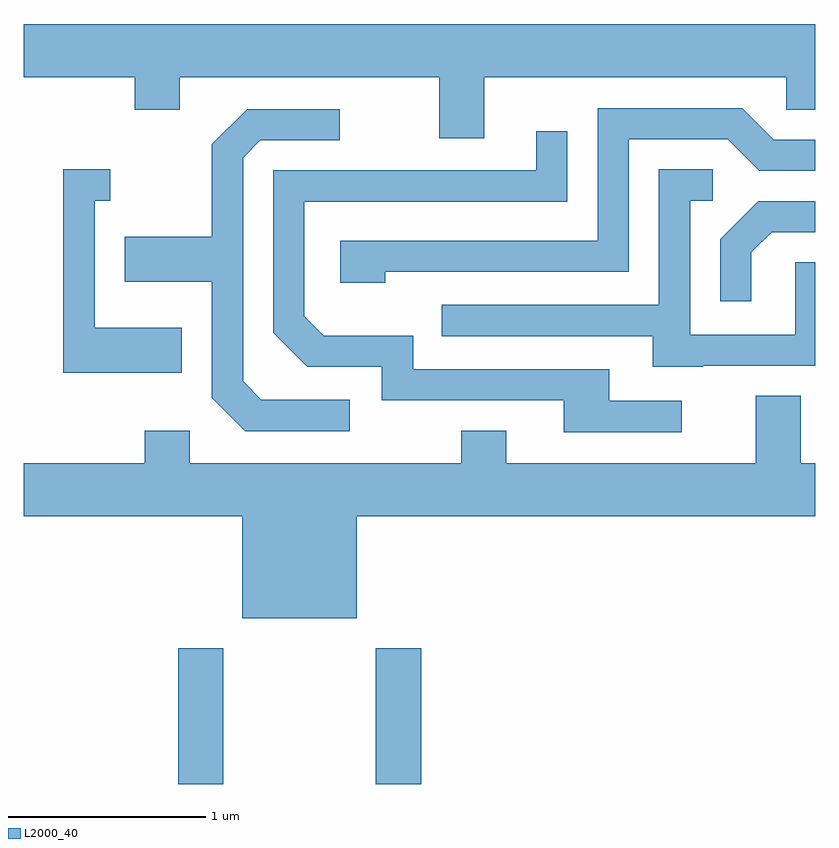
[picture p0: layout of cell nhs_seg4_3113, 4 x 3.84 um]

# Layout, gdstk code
import gdstk
lib = gdstk.Library(unit=1e-6, precision=1e-09)
def R(c, l, rs):  # rectangles x0, y0, x1, y1
    for r in rs: c.add(gdstk.rectangle(r[:2], r[2:], *l))
def P(c, l, *ps):  # polygons
    for p in ps: c.add(gdstk.Polygon(p, *l))
L2000_40 = (2000, 40)

nhs_seg4_3113 = lib.new_cell('nhs_seg4_3113')
R(nhs_seg4_3113, L2000_40, [(276.391,1359.982,276.619,1360.669), (277.391,1359.982,277.619,1360.669)])
P(nhs_seg4_3113, L2000_40, [(277.939,1363.556),(279.466,1363.556),(279.466,1363.391),(279.611,1363.391),(279.611,1363.824),(275.611,1363.824),(275.611,1363.556),(276.171,1363.556),(276.171,1363.391),(276.399,1363.391),(276.399,1363.556),(277.711,1363.556),(277.711,1363.246),(277.939,1363.246)],
  [(277.439,1362.571),(278.669,1362.571),(278.669,1363.241),(279.169,1363.241),(279.329,1363.081),(279.611,1363.081),(279.611,1363.239),(279.402,1363.239),(279.242,1363.399),(278.511,1363.399),(278.511,1362.729),(277.211,1362.729),(277.211,1362.516),(277.439,1362.516)],
  [(277.258,1361.924),(276.812,1361.924),(276.719,1362.017),(276.719,1363.149),(276.807,1363.236),(277.208,1363.236),(277.208,1363.394),(276.739,1363.394),(276.561,1363.217),(276.561,1362.749),(276.121,1362.749),(276.121,1362.521),(276.561,1362.521),(276.561,1361.934),(276.729,1361.766),(277.258,1361.766)],
  [(278.938,1361.919),(278.569,1361.919),(278.569,1362.079),(277.579,1362.079),(277.579,1362.249),(277.127,1362.249),(277.029,1362.347),(277.029,1362.926),(278.359,1362.926),(278.359,1363.283),(278.201,1363.283),(278.201,1363.084),(276.871,1363.084),(276.871,1362.264),(277.044,1362.091),(277.421,1362.091),(277.421,1361.921),(278.341,1361.921),(278.341,1361.761),(278.938,1361.761)],
  [(276.409,1362.289),(275.969,1362.289),(275.969,1362.931),(276.048,1362.931),(276.048,1363.089),(275.811,1363.089),(275.811,1362.061),(276.409,1362.061)],
  [(279.045,1362.096),(279.611,1362.096),(279.611,1362.619),(279.511,1362.619),(279.511,1362.254),(278.979,1362.254),(278.979,1362.931),(279.093,1362.931),(279.093,1363.089),(278.821,1363.089),(278.821,1362.404),(277.723,1362.404),(277.723,1362.246),(278.791,1362.246),(278.791,1362.091),(279.045,1362.091)],
  [(279.289,1362.669),(279.392,1362.771),(279.611,1362.771),(279.611,1362.929),(279.324,1362.929),(279.131,1362.737),(279.131,1362.423),(279.289,1362.423)],
  [(276.449,1361.769),(276.221,1361.769),(276.221,1361.604),(275.611,1361.604),(275.611,1361.336),(276.716,1361.336),(276.716,1360.821),(277.294,1360.821),(277.294,1361.336),(279.611,1361.336),(279.611,1361.604),(279.539,1361.604),(279.539,1361.944),(279.311,1361.944),(279.311,1361.604),(278.049,1361.604),(278.049,1361.769),(277.821,1361.769),(277.821,1361.604),(276.449,1361.604)])

lib.write_gds('nhs_seg4_3113.gds')
